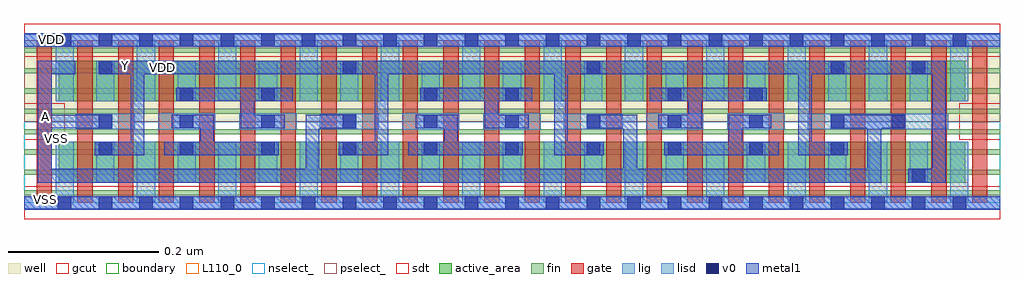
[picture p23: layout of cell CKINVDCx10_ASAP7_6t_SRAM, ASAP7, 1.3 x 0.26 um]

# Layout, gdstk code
import gdstk
lib = gdstk.Library(unit=1e-6, precision=2.5e-10)
def R(c, l, rs):  # rectangles x0, y0, x1, y1
    for r in rs: c.add(gdstk.rectangle(r[:2], r[2:], *l))
def A(c, l, x, y, w, h, nx, ny, dx, dy):  # array of equal rectangles
    R(c, l, [(x+i*dx, y+j*dy, x+i*dx+w, y+j*dy+h) for i in range(nx) for j in range(ny)])
def P(c, l, *ps):  # polygons
    for p in ps: c.add(gdstk.Polygon(p, *l))
well = (1, 0)
fin = (2, 0)
gate = (7, 0)
gcut = (10, 0)
active_area = (11, 0)
nselect_ = (12, 0)
pselect_ = (13, 0)
lig = (16, 0)
lisd = (17, 0)
v0 = (18, 0)
metal1 = (19, 0)
sdt = (88, 0)
boundary = (100, 0)
L110_0 = (110, 0)

ckinvdcx10_asap7_6t_sram = lib.new_cell('CKINVDCx10_ASAP7_6t_SRAM')
R(ckinvdcx10_asap7_6t_sram, well, [(0,0.108,1.296,0.216)])
A(ckinvdcx10_asap7_6t_sram, fin, 0, 0.01, 1.296, 0.007, 1, 8, 0, 0.027)
A(ckinvdcx10_asap7_6t_sram, gate, 0.017, 0, 0.02, 0.216, 24, 1, 0.054, 0)
R(ckinvdcx10_asap7_6t_sram, gcut, [(0,-0.022,1.296,0.022), (0,0.084,0.054,0.132), (1.242,0.084,1.296,0.132), (0,0.194,1.296,0.238)])
R(ckinvdcx10_asap7_6t_sram, active_area, [(0.046,0.027,1.25,0.081), (0.046,0.135,1.25,0.189)])
R(ckinvdcx10_asap7_6t_sram, nselect_, [(0,0,1.296,0.108)])
R(ckinvdcx10_asap7_6t_sram, pselect_, [(0,0.108,1.296,0.216)])
A(ckinvdcx10_asap7_6t_sram, lig, 0.069, 0.098, 0.078, 0.02, 3, 1, 0.324, 0)
R(ckinvdcx10_asap7_6t_sram, lig, [(0,-0.008,1.296,0.008), (0.178,0.097,0.254,0.119), (0.286,0.097,0.362,0.119), (0.502,0.097,0.578,0.119), (0.61,0.097,0.686,0.119), (0.826,0.097,0.902,0.119), (0.934,0.097,1.01,0.119), (1.041,0.098,1.227,0.118), (0,0.208,1.296,0.224)])
A(ckinvdcx10_asap7_6t_sram, lisd, 0.042, 0, 0.024, 0.081, 12, 2, 0.108, 0.135)
A(ckinvdcx10_asap7_6t_sram, lisd, 0.096, 0.027, 0.024, 0.054, 11, 2, 0.108, 0.108)
A(ckinvdcx10_asap7_6t_sram, v0, 0.045, -0.009, 0.018, 0.018, 23, 2, 0.054, 0.216)
A(ckinvdcx10_asap7_6t_sram, v0, 0.099, 0.063, 0.018, 0.018, 10, 2, 0.108, 0.036)
A(ckinvdcx10_asap7_6t_sram, v0, 0.099, 0.171, 0.018, 0.018, 4, 1, 0.324, 0)
R(ckinvdcx10_asap7_6t_sram, v0, [(1.179,0.027,1.197,0.045), (1.152,0.099,1.17,0.117), (0.207,0.135,0.225,0.153), (0.315,0.135,0.333,0.153), (0.531,0.135,0.549,0.153), (0.639,0.135,0.657,0.153), (0.855,0.135,0.873,0.153), (0.963,0.135,0.981,0.153), (1.179,0.171,1.197,0.189)])
R(ckinvdcx10_asap7_6t_sram, metal1, [(0,-0.009,1.296,0.009), (0,0.207,1.296,0.225)])
P(ckinvdcx10_asap7_6t_sram, metal1, [(1.224,0.189),(0.099,0.189),(0.099,0.171),(0.142,0.171),(0.142,0.081),(0.094,0.081),(0.094,0.063),(0.16,0.063),(0.16,0.171),(0.466,0.171),(0.466,0.081),(0.418,0.081),(0.418,0.063),(0.484,0.063),(0.484,0.171),(0.704,0.171),(0.704,0.063),(0.77,0.063),(0.77,0.081),(0.722,0.081),(0.722,0.171),(1.028,0.171),(1.028,0.063),(1.094,0.063),(1.094,0.081),(1.046,0.081),(1.046,0.171),(1.206,0.171),(1.206,0.045),(1.174,0.045),(1.174,0.027),(1.224,0.027)],
  [(1.002,0.081),(0.954,0.081),(0.954,0.099),(0.992,0.099),(0.992,0.117),(0.936,0.117),(0.936,0.081),(0.85,0.081),(0.85,0.063),(1.002,0.063)],
  [(0.986,0.153),(0.831,0.153),(0.831,0.135),(0.882,0.135),(0.882,0.117),(0.842,0.117),(0.842,0.099),(0.9,0.099),(0.9,0.135),(0.986,0.135)],
  [(1.17,0.117),(1.071,0.117),(1.071,0.099),(1.12,0.099),(1.12,0.045),(0.814,0.045),(0.814,0.117),(0.747,0.117),(0.747,0.099),(0.796,0.099),(0.796,0.045),(0.392,0.045),(0.392,0.099),(0.441,0.099),(0.441,0.117),(0.374,0.117),(0.374,0.045),(0.037,0.045),(0.037,0.099),(0.117,0.099),(0.117,0.117),(0.037,0.117),(0.037,0.171),(0.068,0.171),(0.068,0.189),(0.018,0.189),(0.018,0.027),(1.138,0.027),(1.138,0.099),(1.17,0.099)],
  [(0.675,0.153),(0.526,0.153),(0.526,0.135),(0.612,0.135),(0.612,0.099),(0.67,0.099),(0.67,0.117),(0.63,0.117),(0.63,0.135),(0.675,0.135)],
  [(0.662,0.081),(0.576,0.081),(0.576,0.117),(0.52,0.117),(0.52,0.099),(0.558,0.099),(0.558,0.081),(0.51,0.081),(0.51,0.063),(0.662,0.063)],
  [(0.357,0.153),(0.202,0.153),(0.202,0.135),(0.288,0.135),(0.288,0.099),(0.346,0.099),(0.346,0.117),(0.306,0.117),(0.306,0.135),(0.357,0.135)],
  [(0.338,0.081),(0.252,0.081),(0.252,0.117),(0.196,0.117),(0.196,0.099),(0.234,0.099),(0.234,0.081),(0.186,0.081),(0.186,0.063),(0.338,0.063)])
A(ckinvdcx10_asap7_6t_sram, sdt, 0.042, 0.027, 0.024, 0.054, 23, 2, 0.054, 0.108)
R(ckinvdcx10_asap7_6t_sram, boundary, [(0,0,1.296,0.216)])
R(ckinvdcx10_asap7_6t_sram, L110_0, [(0,0,1.296,0.216)])
ckinvdcx10_asap7_6t_sram.add(gdstk.Label('VDD', (0.184,0.18), layer=1, texttype=251))
ckinvdcx10_asap7_6t_sram.add(gdstk.Label('VSS', (0.043,0.085), layer=3, texttype=251))
ckinvdcx10_asap7_6t_sram.add(gdstk.Label('VSS', (0.029,0.004), layer=19, texttype=251))
ckinvdcx10_asap7_6t_sram.add(gdstk.Label('VDD', (0.036,0.2175), layer=19, texttype=251))
ckinvdcx10_asap7_6t_sram.add(gdstk.Label('Y', (0.135,0.183), layer=19, texttype=251))
ckinvdcx10_asap7_6t_sram.add(gdstk.Label('A', (0.029,0.114), layer=19, texttype=251))

lib.write_gds('CKINVDCx10_ASAP7_6t_SRAM.gds')
